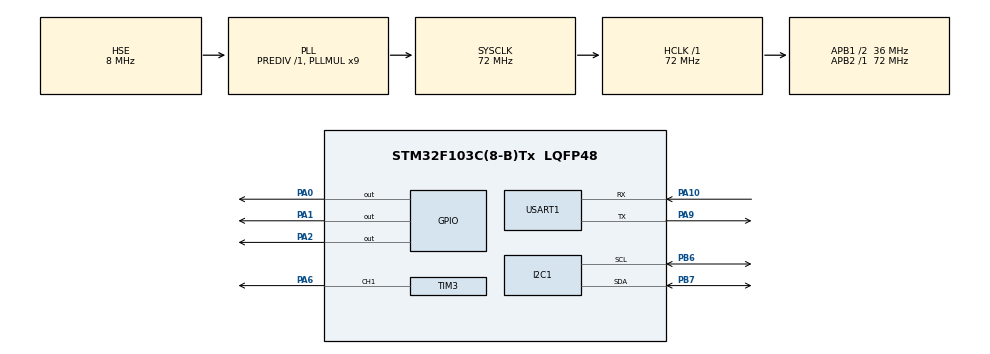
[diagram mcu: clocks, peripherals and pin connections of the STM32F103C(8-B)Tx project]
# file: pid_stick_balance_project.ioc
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Mcu.Family=STM32F1
Mcu.Name=STM32F103C(8-B)Tx
Mcu.Package=LQFP48
NVIC.PriorityGroup=NVIC_PRIORITYGROUP_4
PA0-WKUP.Signal=GPIO_Output
PA1.Signal=GPIO_Output
PA10.Mode=Asynchronous
PA10.Signal=USART1_RX
PA13.Mode=Serial_Wire
PA13.Signal=SYS_JTMS-SWDIO
PA14.Mode=Serial_Wire
PA14.Signal=SYS_JTCK-SWCLK
PA2.Signal=GPIO_Output
PA6.Signal=S_TIM3_CH1
PA9.Mode=Asynchronous
PA9.Signal=USART1_TX
PB6.Mode=I2C
PB6.Signal=I2C1_SCL
PB7.Mode=I2C
PB7.Signal=I2C1_SDA
PD0-OSC_IN.Mode=HSE-External-Oscillator
PD0-OSC_IN.Signal=RCC_OSC_IN
PD1-OSC_OUT.Mode=HSE-External-Oscillator
PD1-OSC_OUT.Signal=RCC_OSC_OUT
ProjectManager.HeapSize=0x200
ProjectManager.StackSize=0x400
ProjectManager.TargetToolchain=STM32CubeIDE
RCC.AHBFreq_Value=72000000
RCC.APB1CLKDivider=RCC_HCLK_DIV2
RCC.APB1Freq_Value=36000000
RCC.APB1TimFreq_Value=72000000
RCC.APB2Freq_Value=72000000
RCC.APB2TimFreq_Value=72000000
RCC.HCLKFreq_Value=72000000
RCC.PLLMUL=RCC_PLL_MUL9
RCC.PLLSourceVirtual=RCC_PLLSOURCE_HSE
RCC.SYSCLKFreq_VALUE=72000000
RCC.SYSCLKSource=RCC_SYSCLKSOURCE_PLLCLK
RCC.USBFreq_Value=72000000
SH.S_TIM3_CH1.0=TIM3_CH1,PWM Generation1 CH1
TIM3.Channel-PWM\ Generation1\ CH1=TIM_CHANNEL_1
TIM3.Period=999
TIM3.Prescaler=72
USART1.VirtualMode=VM_ASYNC
board=custom

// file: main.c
/* USER CODE BEGIN Header */
/**
  ******************************************************************************
  * @file           : main.c
  * @brief          : Main program body
  ******************************************************************************
  * @attention
  *
  * Copyright (c) 2025 STMicroelectronics.
  * All rights reserved.
  *
  * This software is licensed under terms that can be found in the LICENSE file
  * in the root directory of this software component.
  * If no LICENSE file comes with this software, it is provided AS-IS.
  *
  ******************************************************************************
  */
/* USER CODE END Header */
#include "main.h"

/* USER CODE BEGIN Includes */
#include <math.h>
#include <string.h>
#include <stdio.h>

#define MPU6050_ADDR  (0x68 << 1)
//#define MPU6050_ADDR  0xD0
#define ACCL_START 0x3B

/* USER CODE END Includes */

I2C_HandleTypeDef hi2c1;

TIM_HandleTypeDef htim3;

UART_HandleTypeDef huart1;

void SystemClock_Config(void);
static void MX_GPIO_Init(void);
static void MX_I2C1_Init(void);
static void MX_TIM3_Init(void);
static void MX_USART1_UART_Init(void);

/* USER CODE BEGIN 0 */
int __io_putchar(int);
int   wakeup_mpu(void);
int read_raw_data(void);
void PID_calculation();

void Motor_Forward();
void Motor_Backward();

int __io_putchar(int ch){
	HAL_UART_Transmit(&huart1, (uint8_t*) &ch, 1, HAL_MAX_DELAY);
	return ch;

}
int _write(int file, char *ptr, int len)
{
 (void)file;
 int DataIdx;

 for (DataIdx = 0; DataIdx < len; DataIdx++)
 {
   ITM_SendChar(*ptr++);
 }
 return len;
}

// old:
// int8_t raw_data[14];

// new:

int16_t  AccX =0, AccY =0, AccZ =0, Temp =0, GyroX =0, GyroY =0, GyroZ =0;

float angle = 0.0f;
float gyro_angle = 0.0f;
uint32_t prev_time = 0;
// after wakeup_mpu()

float dt = 0;
// Gyro integrated angles
float gyro_angle_x = 0.0f;
float gyro_angle_y = 0.0f;

// Final angles after filtering
float pitch = 0.0f;
float roll  = 0.0f;
// pid calculation variable

float Kp = 15;  // proportional
float Ki = 0.0;   //integral  remove teady error
float Kd = 0.8;   // derivative

float setpoint = 0.0f;      // target balancing angle which we want to stand
float error, prev_error = 0.0f;  // error is difference betwn actuall angle and set angle
float error_sum = 0.0f;    //

// wake up function of mpuz6050
int   wakeup_mpu(void){
	uint8_t wake = 0x00;  //making variable which contain 00 hexvalue
	uint8_t Data;

	HAL_I2C_Mem_Write(&hi2c1, MPU6050_ADDR, 0x6B, 1, &wake, 1, 100);
	HAL_Delay(100);

	// in wake up we need to assign 0x00 to (0x6B wake up register) so we use write i2c  mem
	//HAL_I2C_Mem_Write(hi2c, DevAddress, MemAddress, MemAddSize, pData, Size, Timeout)

//
//	Data = 0x07;
//	HAL_I2C_Mem_Write(&hi2c1, MPU6050_ADDR, 0x19, 1, &Data, 1, 1000);
//
//	 //Set Gyroscopic configuration in GYRO_CONFIG Register
//			Data = 0x00;  // XG_ST=0,YG_ST=0,ZG_ST=0, FS_SEL=0 -> ± 250 ̐/s
//			HAL_I2C_Mem_Write(&hi2c1, MPU6050_ADDR, 0x1B, 1, &Data, 1, 1000);
//
//	// Set accelerometer configuration in ACCEL_CONFIG Register
//			Data = 0x00;  // XA_ST=0,YA_ST=0,ZA_ST=0, FS_SEL=0 -> ± 2g
//			HAL_I2C_Mem_Write(&hi2c1, MPU6050_ADDR, 0x1C, 1, &Data, 1, 1000);
//

	    Data = 0x07;
	    HAL_I2C_Mem_Write(&hi2c1, MPU6050_ADDR, 0x19, 1, &Data, 1, 100);
	    // Enable DLPF = 42 Hz bandwidth
	    Data = 0x03;
	    HAL_I2C_Mem_Write(&hi2c1, MPU6050_ADDR, 0x1A, 1, &Data, 1, 100);
	    // ±250 deg/s
	    Data = 0x00;
	    HAL_I2C_Mem_Write(&hi2c1, MPU6050_ADDR, 0x1B, 1, &Data, 1, 100);
	    // ±2g
	    Data = 0x00;
	    HAL_I2C_Mem_Write(&hi2c1, MPU6050_ADDR, 0x1C, 1, &Data, 1, 100);

	    return 0;
}

// to read values of sensor

int16_t Accel_X_RAW = 0;
int16_t Accel_Y_RAW = 0;
int16_t Accel_Z_RAW = 0;

int16_t Gyro_X_RAW = 0;
int16_t Gyro_Y_RAW = 0;
int16_t Gyro_Z_RAW = 0;

float Ax, Ay, Az, Gx, Gy, Gz;

void MPU6050_Read_Accel (void)
{
	uint8_t Rec_Data[6];

	// Read 6 BYTES of data starting from ACCEL_XOUT_H (0x3B) register
	HAL_I2C_Mem_Read (&hi2c1, MPU6050_ADDR, 0x3B, 1, Rec_Data, 6, HAL_MAX_DELAY);

	Accel_X_RAW = (int16_t)(Rec_Data[0] << 8 | Rec_Data [1]);
	Accel_Y_RAW = (int16_t)(Rec_Data[2] << 8 | Rec_Data [3]);
	Accel_Z_RAW = (int16_t)(Rec_Data[4] << 8 | Rec_Data [5]);

	/*** convert the RAW values into acceleration in 'g'
	     we have to divide according to the Full scale value set in FS_SEL
	    configured FS_SEL = 0. So  dividing by 16384.0
	     for more details check ACCEL_CONFIG Register              ****/

	Ax = (float)Accel_X_RAW/16384.0;
	Ay = (float)Accel_Y_RAW/16384.0;
	Az = (float)Accel_Z_RAW/16384.0;
}

void MPU6050_Read_Gyro (void)
{
	uint8_t Rec_Data[6];

	// Read 6 BYTES of data starting from GYRO_XOUT_H register
	HAL_I2C_Mem_Read (&hi2c1, MPU6050_ADDR, 0x43, 1, Rec_Data, 6, HAL_MAX_DELAY);

	Gyro_X_RAW = (int16_t)(Rec_Data[0] << 8 | Rec_Data [1]);
	Gyro_Y_RAW = (int16_t)(Rec_Data[2] << 8 | Rec_Data [3]);
	Gyro_Z_RAW = (int16_t)(Rec_Data[4] << 8 | Rec_Data [5]);

	/*** convert the RAW values into dps (ｰ/s)
	     we have to divide according to the Full scale value set in FS_SEL
	     configured FS_SEL = 0. So  dividing by 131.0
	     for more details check GYRO_CONFIG Register   /           ****/

	Gx = (float)Gyro_X_RAW/131.0;
	Gy = (float)Gyro_Y_RAW/131.0;
	Gz = (float)Gyro_Z_RAW/131.0;
}

void Motor_SetSpeed(int speed)
{
    if (speed > 999) speed = 999;
    HAL_GPIO_WritePin(GPIOA, GPIO_PIN_0, GPIO_PIN_SET);
    HAL_GPIO_WritePin(GPIOA, GPIO_PIN_1, GPIO_PIN_RESET);
    __HAL_TIM_SET_COMPARE(&htim3, TIM_CHANNEL_1, speed);
}

void Motor_Backward(int speed)
{
    if (speed > 999) speed = 999;
    HAL_GPIO_WritePin(GPIOA, GPIO_PIN_0, GPIO_PIN_RESET);
    HAL_GPIO_WritePin(GPIOA, GPIO_PIN_1, GPIO_PIN_SET);
    __HAL_TIM_SET_COMPARE(&htim3, TIM_CHANNEL_1, speed);
}

// pid caluculation func
void PID_calculation()
{
    // 1) Get filtered angle from complementary filter
    float current_angle = pitch;

    // 2) Compute error
    error = setpoint - current_angle;

    // 3) Integral term
    error_sum += error * dt;

    // anti wind-up
    if(error_sum > 200) error_sum = 200;
    if(error_sum < -200) error_sum = -200;

    // 4) Derivative term
    float error_diff = (error - prev_error) / dt;

    // 5) PID output
    float PID =  (Kp * error)+ (Ki * error_sum) + (Kd * error_diff);

    prev_error = error;

    // 6) Limit output
    if(PID > 1000) PID = 1000;
    if(PID < -1000) PID = -1000;

    // 7) Send to motors
    if(PID > 0)
    {
//        Motor_Forward(PID); // tilt forward
    	Motor_SetSpeed(PID);

    }
    else
    {
        Motor_Backward(-PID);   // tilt backward
    }
}

/* USER CODE END 0 */

int main(void)
{

  /* MCU Configuration--------------------------------------------------------*/

  /* Reset of all peripherals, Initializes the Flash interface and the Systick. */
  HAL_Init();

  /* Configure the system clock */
  SystemClock_Config();

  /* Initialize all configured peripherals */
  MX_GPIO_Init();
  MX_I2C1_Init();
  MX_TIM3_Init();
  MX_USART1_UART_Init();
  /* USER CODE BEGIN 2 */
  // int i;
  HAL_TIM_PWM_Start(&htim3,TIM_CHANNEL_1);
  wakeup_mpu();

  prev_time = HAL_GetTick();   // avoid huge dt on first loop

  /* USER CODE END 2 */

  /* Infinite loop */
  /* USER CODE BEGIN WHILE */
  while (1)
  {

	  // read the Accelerometer and Gyro values
	  MPU6050_Read_Accel();
	  MPU6050_Read_Gyro();
//	  Gx = (float)Gyro_X_RAW/131.0;
//	  Gy = (float)Gyro_Y_RAW/131.0;
//	  Gz = (float)Gyro_Z_RAW/131.0;

         //  atan formula
	    // Convert accelerometer values to angle (in degrees) ( not in m/sec^2)
	  	float acc_pitch = atan2f(Ay, Az) * 180.0f / M_PI; // for pittch
	  	float acc_roll = atan2f(-Ax, sqrtf(Ay*Ay + Az*Az)) * 180.0f / M_PI;   // for roll

// to measure passing time  per next value we get

	    uint32_t now = HAL_GetTick(); //hal tick give  time in milliseconds
	    float raw_dt = (now - prev_time) / 1000.0f;  // convert ms to seconds and store in raw dt
	    prev_time = now;           // assign now time to check difference between naxt time
	    if (raw_dt <= 0.0f) raw_dt = 0.001f;
	    if (raw_dt > 0.05f) raw_dt = 0.05f;   // max 50 ms for safety
	    dt = raw_dt;

	 	 // ***step for gyro integration to estimate angle
	 	 // gx, gy are gyro rotation speeds (deg/sec)
	 	 // dt is loop time (seconds)
	 	 // Multiplying gx*dt gives how many degrees the board rotated in this loop

	 	 gyro_angle_x += Gx * dt;   // Pitch angle from gyro
	 	 gyro_angle_y += Gy * dt;   // Roll angle from gyro

	    // implimenting complimentary filter
        // complementery filter is mixing two sensor data to get a stable output or a fusion of sensor ,here we mix 98% gyro & 2%acc
	    // gyro has lowest noise but value automatically change or increase with time called as drift
	    // acc is used less 2% becaus has more noise if use only acc makes unstable value
	    // but  acc give fast value for long term usefull to take some refrence
	 	float alpha = 0.98f; // gyro usage

	 	//pitch = 0.98 * gyro +(1.0f - alpha)= 0.02 * accelerometer deg value

	 	pitch = alpha * (pitch + Gx * dt) + (1.0f - alpha) * acc_pitch;
	 	roll  = alpha * (roll  + Gy * dt) + (1.0f - alpha) * acc_roll;

       //now pid

	 	PID_calculation();

            //  printf ( "Ax=%.2fg ", Ax); // @suppress("Float formatting support")
            //HAL_Delay(100);

	 	  	  /*
	 	  	  for(i = 0; i < 100; i++) {
	 	  	         __HAL_TIM_SET_COMPARE(&htim3, TIM_CHANNEL_1, i);  // Set PWM duty cycle (0 to 299)
	 	  	         HAL_Delay(100);  // Wait 5 milliseconds between steps (smooth increase)
	 	  	     }

	 	  	     HAL_Delay(10);  // Short delay before decreasing

	 	  	     // Decrease PWM duty cycle gradually
	 	  	     for(i = 100; i >= 0; i--) {
	 	  	         __HAL_TIM_SET_COMPARE(&htim3, TIM_CHANNEL_1, i);  // Set PWM duty cycle (300 down to 0)
	 	  	         HAL_Delay(100);  // Wait 5 milliseconds between steps (smooth decrease)
	 	  	     }

	 	  	     */
    /* USER CODE END WHILE */

  }
}

void SystemClock_Config(void)
{
  RCC_OscInitTypeDef RCC_OscInitStruct = {0};
  RCC_ClkInitTypeDef RCC_ClkInitStruct = {0};

  /** Initializes the RCC Oscillators according to the specified parameters
  * in the RCC_OscInitTypeDef structure.
  */
  RCC_OscInitStruct.OscillatorType = RCC_OSCILLATORTYPE_HSE;
  RCC_OscInitStruct.HSEState = RCC_HSE_ON;
  RCC_OscInitStruct.HSEPredivValue = RCC_HSE_PREDIV_DIV1;
  RCC_OscInitStruct.HSIState = RCC_HSI_ON;
  RCC_OscInitStruct.PLL.PLLState = RCC_PLL_ON;
  RCC_OscInitStruct.PLL.PLLSource = RCC_PLLSOURCE_HSE;
  RCC_OscInitStruct.PLL.PLLMUL = RCC_PLL_MUL9;
  if (HAL_RCC_OscConfig(&RCC_OscInitStruct) != HAL_OK)
  {
    Error_Handler();
  }

  /** Initializes the CPU, AHB and APB buses clocks
  */
  RCC_ClkInitStruct.ClockType = RCC_CLOCKTYPE_HCLK|RCC_CLOCKTYPE_SYSCLK
                              |RCC_CLOCKTYPE_PCLK1|RCC_CLOCKTYPE_PCLK2;
  RCC_ClkInitStruct.SYSCLKSource = RCC_SYSCLKSOURCE_PLLCLK;
  RCC_ClkInitStruct.AHBCLKDivider = RCC_SYSCLK_DIV1;
  RCC_ClkInitStruct.APB1CLKDivider = RCC_HCLK_DIV2;
  RCC_ClkInitStruct.APB2CLKDivider = RCC_HCLK_DIV1;

  if (HAL_RCC_ClockConfig(&RCC_ClkInitStruct, FLASH_LATENCY_2) != HAL_OK)
  {
    Error_Handler();
  }
}

static void MX_I2C1_Init(void)
{

  hi2c1.Instance = I2C1;
  hi2c1.Init.ClockSpeed = 100000;
  hi2c1.Init.DutyCycle = I2C_DUTYCYCLE_2;
  hi2c1.Init.OwnAddress1 = 0;
  hi2c1.Init.AddressingMode = I2C_ADDRESSINGMODE_7BIT;
  hi2c1.Init.DualAddressMode = I2C_DUALADDRESS_DISABLE;
  hi2c1.Init.OwnAddress2 = 0;
  hi2c1.Init.GeneralCallMode = I2C_GENERALCALL_DISABLE;
  hi2c1.Init.NoStretchMode = I2C_NOSTRETCH_DISABLE;
  if (HAL_I2C_Init(&hi2c1) != HAL_OK)
  {
    Error_Handler();
  }

}

static void MX_TIM3_Init(void)
{

  TIM_MasterConfigTypeDef sMasterConfig = {0};
  TIM_OC_InitTypeDef sConfigOC = {0};

  htim3.Instance = TIM3;
  htim3.Init.Prescaler = 72;
  htim3.Init.CounterMode = TIM_COUNTERMODE_UP;
  htim3.Init.Period = 999;
  htim3.Init.ClockDivision = TIM_CLOCKDIVISION_DIV1;
  htim3.Init.AutoReloadPreload = TIM_AUTORELOAD_PRELOAD_DISABLE;
  if (HAL_TIM_PWM_Init(&htim3) != HAL_OK)
  {
    Error_Handler();
  }
  sMasterConfig.MasterOutputTrigger = TIM_TRGO_RESET;
  sMasterConfig.MasterSlaveMode = TIM_MASTERSLAVEMODE_DISABLE;
  if (HAL_TIMEx_MasterConfigSynchronization(&htim3, &sMasterConfig) != HAL_OK)
  {
    Error_Handler();
  }
  sConfigOC.OCMode = TIM_OCMODE_PWM1;
  sConfigOC.Pulse = 0;
  sConfigOC.OCPolarity = TIM_OCPOLARITY_HIGH;
  sConfigOC.OCFastMode = TIM_OCFAST_DISABLE;
  if (HAL_TIM_PWM_ConfigChannel(&htim3, &sConfigOC, TIM_CHANNEL_1) != HAL_OK)
  {
    Error_Handler();
  }
  HAL_TIM_MspPostInit(&htim3);

}

static void MX_USART1_UART_Init(void)
{

  huart1.Instance = USART1;
  huart1.Init.BaudRate = 115200;
  huart1.Init.WordLength = UART_WORDLENGTH_8B;
  huart1.Init.StopBits = UART_STOPBITS_1;
  huart1.Init.Parity = UART_PARITY_NONE;
  huart1.Init.Mode = UART_MODE_TX_RX;
  huart1.Init.HwFlowCtl = UART_HWCONTROL_NONE;
  huart1.Init.OverSampling = UART_OVERSAMPLING_16;
  if (HAL_UART_Init(&huart1) != HAL_OK)
  {
    Error_Handler();
  }

}

static void MX_GPIO_Init(void)
{
  GPIO_InitTypeDef GPIO_InitStruct = {0};

  /* GPIO Ports Clock Enable */
  __HAL_RCC_GPIOD_CLK_ENABLE();
  __HAL_RCC_GPIOA_CLK_ENABLE();
  __HAL_RCC_GPIOB_CLK_ENABLE();

  /*Configure GPIO pin Output Level */
  HAL_GPIO_WritePin(GPIOA, GPIO_PIN_0|GPIO_PIN_1|GPIO_PIN_2, GPIO_PIN_RESET);

  /*Configure GPIO pins : PA0 PA1 PA2 */
  GPIO_InitStruct.Pin = GPIO_PIN_0|GPIO_PIN_1|GPIO_PIN_2;
  GPIO_InitStruct.Mode = GPIO_MODE_OUTPUT_PP;
  GPIO_InitStruct.Pull = GPIO_NOPULL;
  GPIO_InitStruct.Speed = GPIO_SPEED_FREQ_LOW;
  HAL_GPIO_Init(GPIOA, &GPIO_InitStruct);

}

void Error_Handler(void)
{
  __disable_irq();
  while (1)
  {
  }
}
